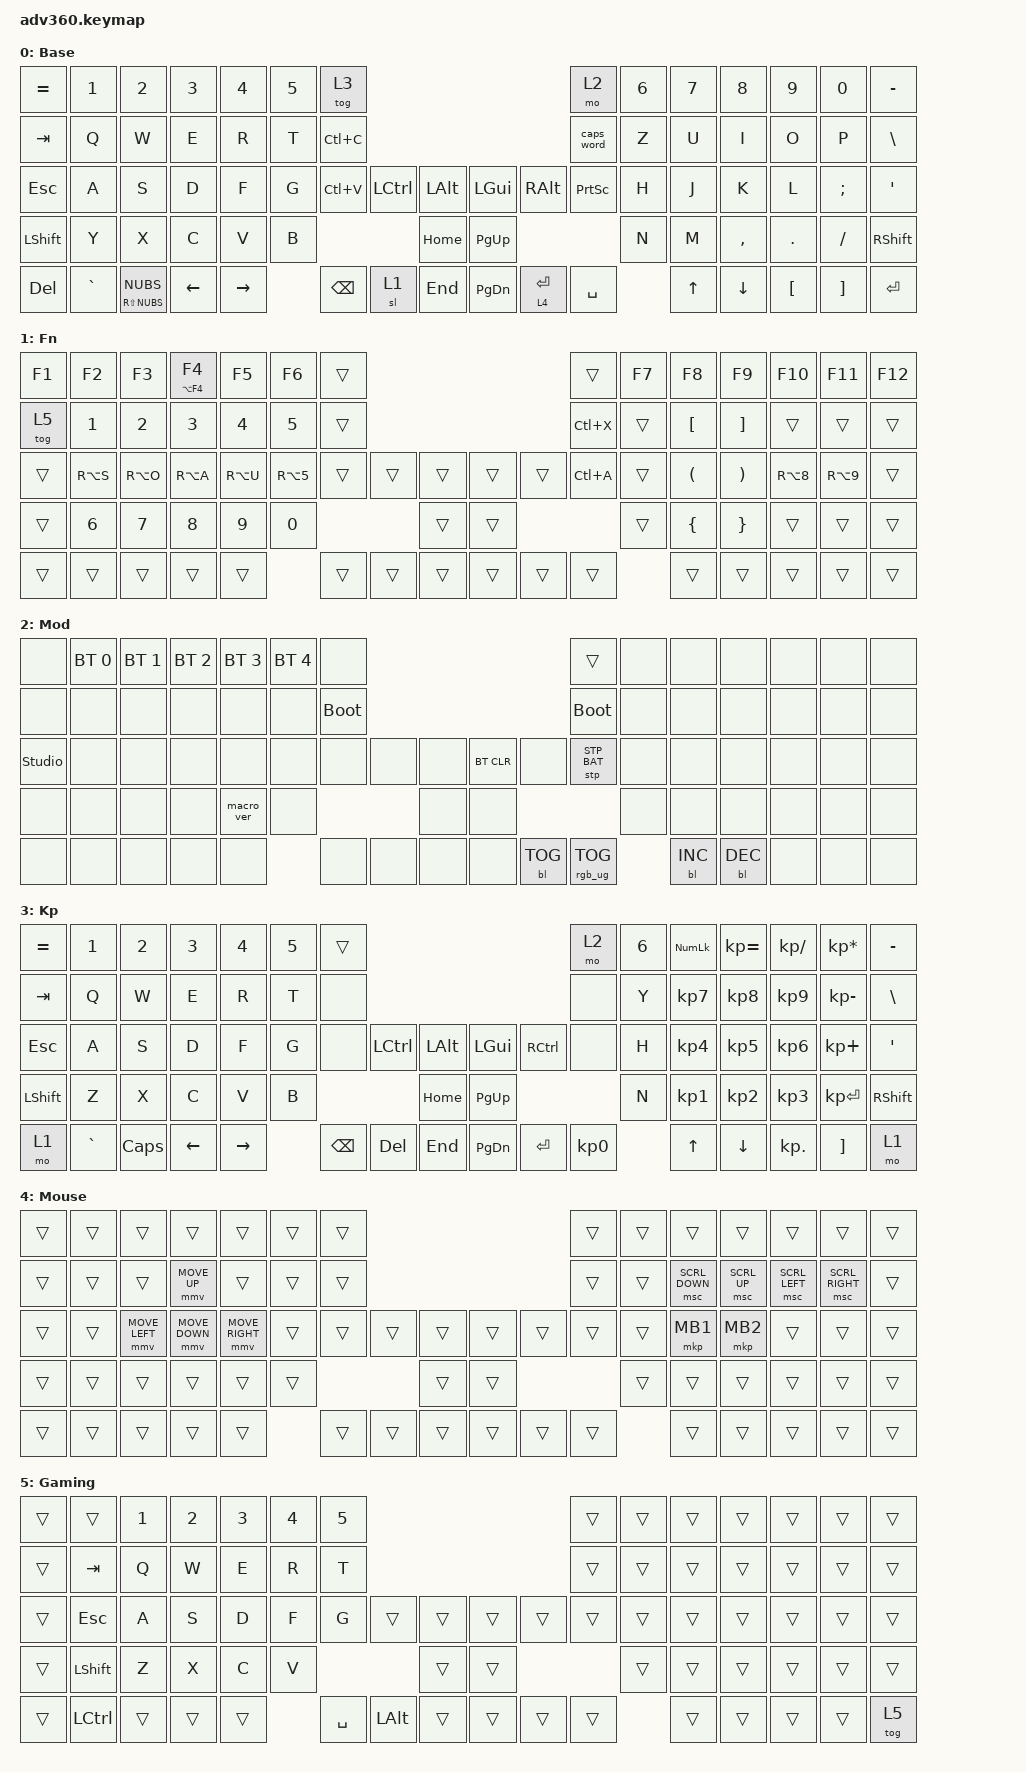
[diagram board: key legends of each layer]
#include <dt-bindings/zmk/stp.h>
#include <behaviors.dtsi>
#include <dt-bindings/zmk/backlight.h>
#include <dt-bindings/zmk/bt.h>
#include <dt-bindings/zmk/keys.h>
#include <dt-bindings/zmk/pointing.h>
#include <dt-bindings/zmk/rgb.h>

/ {
    behaviors {
        #include "macros.dtsi"
      #include "version.dtsi"

        hm: homerow_mods {
            compatible = "zmk,behavior-hold-tap";
            label = "HOMEROW_MODS";
            #binding-cells = <2>;
            tapping-term-ms = <200>;
            quick_tap_ms = <175>;
            flavor = "tap-preferred";
            bindings = <&kp>, <&kp>;
        };

        hmr: hmr {
            compatible = "zmk,behavior-hold-tap";
            label = "HMR";
            bindings = <&kp>, <&kp>;

            #binding-cells = <2>;
            tapping-term-ms = <280>;
            quick-tap-ms = <175>;
            flavor = "balanced";
            hold-trigger-key-positions = <0 1 2 3 4 5 6 14 15 16 17 18 19 20 28 29 30 31 32 33 34 35 36 46 47 48 49 50 51 52 60 61 62 63 64 65 66 67 37 38 53 68 69 70>;
            hold-trigger-on-release;
            require-prior-idle-ms = <150>;
        };

        hml: hml {
            compatible = "zmk,behavior-hold-tap";
            label = "HML";
            bindings = <&kp>, <&kp>;

            #binding-cells = <2>;
            tapping-term-ms = <280>;
            quick-tap-ms = <175>;
            flavor = "balanced";
            hold-trigger-key-positions = <7 8 9 10 11 12 13 21 22 23 24 25 26 27 37 38 39 40 41 42 43 44 45 53 54 55 56 57 58 59 68 69 70 71 72 73 74 75 35 36 52 65 66 67>;
            hold-trigger-on-release;
            require-prior-idle-ms = <150>;
        };
    };

    combos {
        compatible = "zmk,combos";

        ue {
            bindings = <&kp RA(U)>;
            key-positions = <31 32>;
            layers = <0>;
        };

        oe {
            bindings = <&kp RA(O)>;
            key-positions = <49 50>;
            layers = <0>;
        };

        ae {
            bindings = <&kp RA(A)>;
            key-positions = <41 42>;
            layers = <0>;
        };

        ss {
            bindings = <&kp RA(S)>;
            key-positions = <55 56>;
            layers = <0>;
        };
    };

    keymap {
        compatible = "zmk,keymap";

        default_layer {
            display-name = "Base";
            bindings = <
&kp EQUAL   &kp N1     &kp N2             &kp N3    &kp N4     &kp N5  &tog 3                                                            &mo 2            &kp N6  &kp N7  &kp N8     &kp N9      &kp N0    &kp MINUS
&kp TAB     &kp Q      &kp W              &kp E     &kp R      &kp T   &kp LC(C)                                                         &caps_word       &kp Z   &kp U   &kp I      &kp O       &kp P     &kp BSLH
&kp ESC     &kp A      &kp S              &kp D     &kp F      &kp G   &kp LC(V)  &kp LCTRL  &kp LALT      &kp LGUI       &kp RIGHT_ALT  &kp PRINTSCREEN  &kp H   &kp J   &kp K      &kp L       &kp SEMI  &kp SQT
&kp LSHFT   &kp Y      &kp X              &kp C     &kp V      &kp B                         &kp HOME      &kp PG_UP                                      &kp N   &kp M   &kp COMMA  &kp PERIOD  &kp FSLH  &kp RSHFT
&kp DELETE  &kp GRAVE  &mt RS(NUBS) NUBS  &kp LEFT  &kp RIGHT          &kp BSPC   &sl 1      &kp END       &kp PAGE_DOWN  &lt 4 ENTER    &kp SPACE                &kp UP  &kp DOWN   &kp LBKT    &kp RBKT  &kp ENTER
            >;
        };

        fn {
            display-name = "Fn";
            bindings = <
&kp F1  &kp F2     &kp F3     &mt LA(F4) F4  &kp F5     &kp F6      &trans                                      &trans     &kp F7  &kp F8                &kp F9                 &kp F10     &kp F11     &kp F12
&tog 5  &kp N1     &kp N2     &kp N3         &kp N4     &kp N5      &trans                                      &kp LC(X)  &trans  &kp LEFT_BRACKET      &kp RIGHT_BRACKET      &trans      &trans      &trans
&trans  &kp RA(S)  &kp RA(O)  &kp RA(A)      &kp RA(U)  &kp RA(N5)  &trans  &trans  &trans      &trans  &trans  &kp LC(A)  &trans  &kp LEFT_PARENTHESIS  &kp RIGHT_PARENTHESIS  &kp RA(N8)  &kp RA(N9)  &trans
&trans  &kp N6     &kp N7     &kp N8         &kp N9     &kp N0                      &trans      &trans                     &trans  &kp LEFT_BRACE        &kp RIGHT_BRACE        &trans      &trans      &trans
&trans  &trans     &trans     &trans         &trans                 &trans  &trans  &trans      &trans  &trans  &trans             &trans                &trans                 &trans      &trans      &trans
            >;
        };

        mod {
            display-name = "Mod";
            bindings = <
&none           &bt BT_SEL 0  &bt BT_SEL 1  &bt BT_SEL 2  &bt BT_SEL 3  &bt BT_SEL 4  &none                                                  &trans           &none  &none       &none       &none  &none  &none
&none           &none         &none         &none         &none         &none         &bootloader                                            &bootloader      &none  &none       &none       &none  &none  &none
&studio_unlock  &none         &none         &none         &none         &none         &none        &none  &none      &bt BT_CLR  &none       &stp STP_BAT     &none  &none       &none       &none  &none  &none
&none           &none         &none         &none         &macro_ver    &none                             &none      &none                                    &none  &none       &none       &none  &none  &none
&none           &none         &none         &none         &none                       &none        &none  &none      &none       &bl BL_TOG  &rgb_ug RGB_TOG         &bl BL_INC  &bl BL_DEC  &none  &none  &none
            >;
        };

        keypad {
            display-name = "Kp";
            bindings = <
&kp EQUAL  &kp N1     &kp N2    &kp N3    &kp N4     &kp N5  &trans                                                   &mo 2      &kp N6  &kp KP_NUM  &kp KP_EQUAL  &kp KP_DIVIDE  &kp KP_MULTIPLY  &kp MINUS
&kp TAB    &kp Q      &kp W     &kp E     &kp R      &kp T   &none                                                    &none      &kp Y   &kp KP_N7   &kp KP_N8     &kp KP_N9      &kp KP_MINUS     &kp BSLH
&kp ESC    &kp A      &kp S     &kp D     &kp F      &kp G   &none     &kp LCTRL  &kp LALT      &kp LGUI   &kp RCTRL  &none      &kp H   &kp KP_N4   &kp KP_N5     &kp KP_N6      &kp KP_PLUS      &kp SQT
&kp LSHFT  &kp Z      &kp X     &kp C     &kp V      &kp B                        &kp HOME      &kp PG_UP                        &kp N   &kp KP_N1   &kp KP_N2     &kp KP_N3      &kp KP_ENTER     &kp RSHFT
&mo 1      &kp GRAVE  &kp CAPS  &kp LEFT  &kp RIGHT          &kp BSPC  &kp DEL    &kp END       &kp PG_DN  &kp ENTER  &kp KP_N0          &kp UP      &kp DOWN      &kp KP_DOT     &kp RBKT         &mo 1
            >;
        };

        Mouse {
            bindings = <
&trans  &trans  &trans          &trans          &trans           &trans  &trans                                      &trans  &trans  &trans          &trans        &trans          &trans           &trans
&trans  &trans  &trans          &mmv MOVE_UP    &trans           &trans  &trans                                      &trans  &trans  &msc SCRL_DOWN  &msc SCRL_UP  &msc SCRL_LEFT  &msc SCRL_RIGHT  &trans
&trans  &trans  &mmv MOVE_LEFT  &mmv MOVE_DOWN  &mmv MOVE_RIGHT  &trans  &trans  &trans  &trans      &trans  &trans  &trans  &trans  &mkp MB1        &mkp MB2      &trans          &trans           &trans
&trans  &trans  &trans          &trans          &trans           &trans                  &trans      &trans                  &trans  &trans          &trans        &trans          &trans           &trans
&trans  &trans  &trans          &trans          &trans                   &trans  &trans  &trans      &trans  &trans  &trans          &trans          &trans        &trans          &trans           &trans
            >;
        };

        Gaming {
            bindings = <
&trans  &trans     &kp N1  &kp N2  &kp N3  &kp N4  &kp N5                                           &trans  &trans  &trans  &trans  &trans  &trans  &trans
&trans  &kp TAB    &kp Q   &kp W   &kp E   &kp R   &kp T                                            &trans  &trans  &trans  &trans  &trans  &trans  &trans
&trans  &kp ESC    &kp A   &kp S   &kp D   &kp F   &kp G      &trans    &trans      &trans  &trans  &trans  &trans  &trans  &trans  &trans  &trans  &trans
&trans  &kp LSHFT  &kp Z   &kp X   &kp C   &kp V                        &trans      &trans                  &trans  &trans  &trans  &trans  &trans  &trans
&trans  &kp LCTRL  &trans  &trans  &trans          &kp SPACE  &kp LALT  &trans      &trans  &trans  &trans          &trans  &trans  &trans  &trans  &tog 5
            >;
        };

        extra1 {
            display-name = "Red";
            status = "reserved";
        };

        extra2 {
            display-name = "Purple";
            status = "reserved";
        };

        extra3 {
            display-name = "Cyan";
            status = "reserved";
        };

        extra4 {
            display-name = "Yellow";
            status = "reserved";
        };
    };
};
